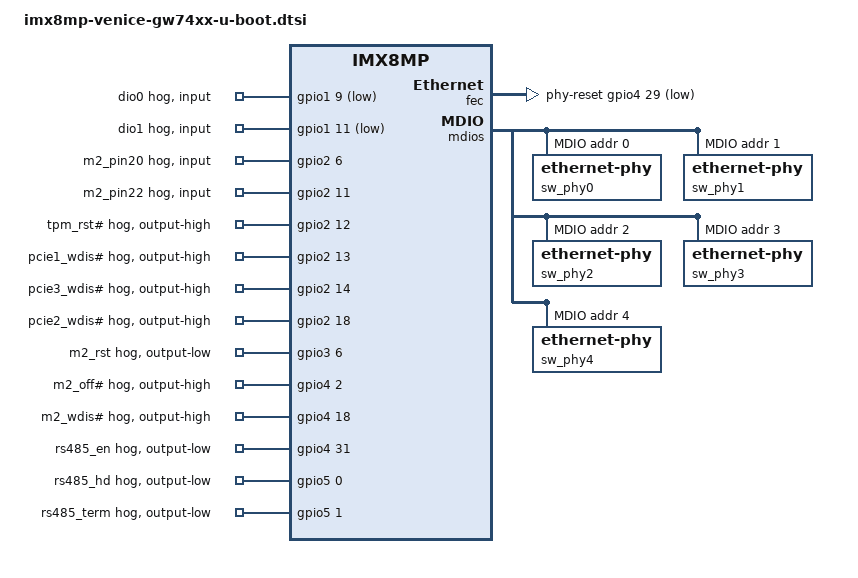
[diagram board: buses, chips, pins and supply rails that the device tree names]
// SPDX-License-Identifier: (GPL-2.0+ OR MIT)
/*
 * Copyright 2022 Gateworks Corporation
 */

#include "imx8mp-u-boot.dtsi"

/ {
	wdt-reboot {
		compatible = "wdt-reboot";
		bootph-pre-ram;
		wdt = <&wdog1>;
	};
};

&ethphy0 {
	reset-gpios = <&gpio4 30 GPIO_ACTIVE_LOW>;
	reset-delay-us = <1000>;
	reset-post-delay-us = <300000>;
};

&fec {
	phy-reset-gpios = <&gpio4 29 GPIO_ACTIVE_LOW>;
	phy-reset-duration = <15>;
	phy-reset-post-delay = <100>;
};

&gpio1 {
	bootph-pre-ram;

	dio0_hog {
		gpio-hog;
		input;
		gpios = <9 GPIO_ACTIVE_LOW>;
		line-name = "dio0";
	};

	dio1_hog {
		gpio-hog;
		input;
		gpios = <11 GPIO_ACTIVE_LOW>;
		line-name = "dio1";
	};
};

&gpio2 {
	bootph-pre-ram;

	m2_pin20 {
		gpio-hog;
		input;
		gpios = <6 GPIO_ACTIVE_HIGH>;
		line-name = "m2_pin20";
	};

	m2_pin22 {
		gpio-hog;
		input;
		gpios = <11 GPIO_ACTIVE_HIGH>;
		line-name = "m2_pin22";
	};

	tpm_rst_hog {
		gpio-hog;
		output-high;
		gpios = <12 GPIO_ACTIVE_HIGH>;
		line-name = "tpm_rst#";
	};

	pcie1_wdis_hog {
		gpio-hog;
		output-high;
		gpios = <13 GPIO_ACTIVE_HIGH>;
		line-name = "pcie1_wdis#";
	};

	pcie3_wdis_hog {
		gpio-hog;
		output-high;
		gpios = <14 GPIO_ACTIVE_HIGH>;
		line-name = "pcie3_wdis#";
	};

	pcie2_wdis_hog {
		gpio-hog;
		output-high;
		gpios = <18 GPIO_ACTIVE_HIGH>;
		line-name = "pcie2_wdis#";
	};
};

&gpio3 {
	bootph-pre-ram;

	m2_rst {
		gpio-hog;
		output-low;
		gpios = <6 GPIO_ACTIVE_HIGH>;
		line-name = "m2_rst";
	};
};

&gpio4 {
	bootph-pre-ram;

	m2_off {
		gpio-hog;
		output-high;
		gpios = <2 GPIO_ACTIVE_HIGH>;
		line-name = "m2_off#";
	};

	m2_wdis {
		gpio-hog;
		output-high;
		gpios = <18 GPIO_ACTIVE_HIGH>;
		line-name = "m2_wdis#";
	};

	rs485_en {
		gpio-hog;
		output-low;
		gpios = <31 GPIO_ACTIVE_HIGH>;
		line-name = "rs485_en";
	};
};

&gpio5 {
	bootph-pre-ram;

	rs485_half {
		gpio-hog;
		output-low;
		gpios = <0 GPIO_ACTIVE_HIGH>;
		line-name = "rs485_hd";
	};

	rs485_term {
		gpio-hog;
		output-low;
		gpios = <1 GPIO_ACTIVE_HIGH>;
		line-name = "rs485_term";
	};
};

&i2c1 {
	bootph-pre-ram;
};

&i2c2 {
	bootph-pre-ram;
};

&i2c3 {
	bootph-pre-ram;
};

&pinctrl_i2c1 {
	bootph-pre-ram;
};

&pinctrl_wdog {
	bootph-pre-ram;
};

&switch {
	ports {
		#address-cells = <1>;
		#size-cells = <0>;

		lan1: port@0 {
			phy-handle = <&sw_phy0>;
		};

		lan2: port@1 {
			phy-handle = <&sw_phy1>;
		};

		lan3: port@2 {
			phy-handle = <&sw_phy2>;
		};

		lan4: port@3 {
			phy-handle = <&sw_phy3>;
		};

		lan5: port@4 {
			phy-handle = <&sw_phy4>;
		};
	};

	mdios {
		#address-cells = <1>;
		#size-cells = <0>;

		mdio@0 {
			reg = <0>;
			compatible = "microchip,ksz-mdio";
			#address-cells = <1>;
			#size-cells = <0>;

			sw_phy0: ethernet-phy@0 {
				reg = <0x0>;
			};

			sw_phy1: ethernet-phy@1 {
				reg = <0x1>;
			};

			sw_phy2: ethernet-phy@2 {
				reg = <0x2>;
			};

			sw_phy3: ethernet-phy@3 {
				reg = <0x3>;
			};

			sw_phy4: ethernet-phy@4 {
				reg = <0x4>;
			};
		};
	};
};

&usdhc2 {
	assigned-clock-parents = <&clk IMX8MP_SYS_PLL1_400M>;
	assigned-clock-rates = <400000000>;
	assigned-clocks = <&clk IMX8MP_CLK_USDHC2>;
	sd-uhs-ddr50;
	sd-uhs-sdr104;
	bootph-pre-ram;
};

&usdhc3 {
	assigned-clock-parents = <&clk IMX8MP_SYS_PLL1_400M>;
	assigned-clock-rates = <400000000>;
	assigned-clocks = <&clk IMX8MP_CLK_USDHC3>;
	mmc-hs400-1_8v;
	mmc-hs400-enhanced-strobe;
	bootph-pre-ram;
};

&wdog1 {
	bootph-pre-ram;
};
